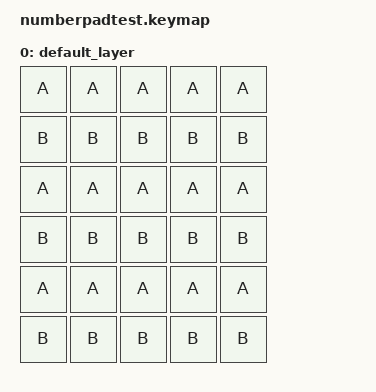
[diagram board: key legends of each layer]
#include <behaviors.dtsi>
#include <dt-bindings/zmk/keys.h>
#include <dt-bindings/zmk/pointing.h>
#include <dt-bindings/zmk/bt.h>
#include <physical_layouts.dtsi>


/ {
    keymap {
        compatible = "zmk,keymap";

        default_layer {
            bindings = <
&kp A &kp A &kp A &kp A &kp A 
&kp B &kp B &kp B &kp B &kp B
&kp A &kp A &kp A &kp A &kp A 
&kp B &kp B &kp B &kp B &kp B 
&kp A &kp A &kp A &kp A &kp A 
&kp B &kp B &kp B &kp B &kp B  
            >;
        };
    };
};
